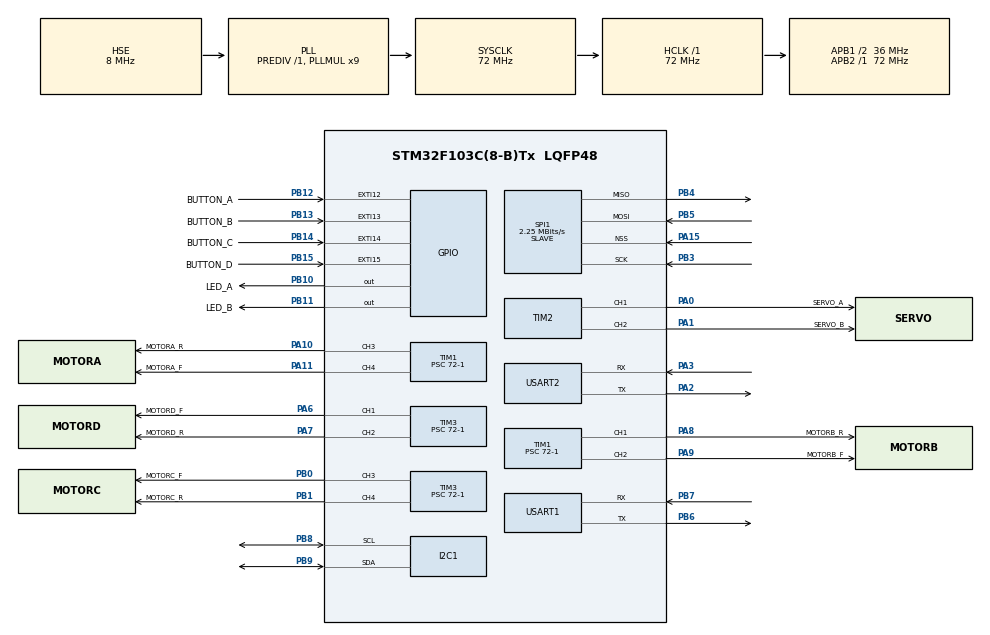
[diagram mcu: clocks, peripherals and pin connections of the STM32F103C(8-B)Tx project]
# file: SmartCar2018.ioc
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Mcu.Family=STM32F1
Mcu.Name=STM32F103C(8-B)Tx
Mcu.Package=LQFP48
NVIC.PriorityGroup=NVIC_PRIORITYGROUP_4
PA0-WKUP.GPIO_Label=SERVO_A
PA0-WKUP.Signal=S_TIM2_CH1_ETR
PA1.GPIO_Label=SERVO_B
PA1.Signal=S_TIM2_CH2
PA10.GPIO_Label=MOTORA_R
PA10.Signal=S_TIM1_CH3
PA11.GPIO_Label=MOTORA_F
PA11.Signal=S_TIM1_CH4
PA13.Mode=Serial_Wire
PA13.Signal=SYS_JTMS-SWDIO
PA14.Mode=Serial_Wire
PA14.Signal=SYS_JTCK-SWCLK
PA15.Mode=NSS_Signal_Hard_Input
PA15.Signal=SPI1_NSS
PA2.Mode=Asynchronous
PA2.Signal=USART2_TX
PA3.Mode=Asynchronous
PA3.Signal=USART2_RX
PA6.GPIO_Label=MOTORD_F
PA6.Signal=S_TIM3_CH1
PA7.GPIO_Label=MOTORD_R
PA7.Signal=S_TIM3_CH2
PA8.GPIO_Label=MOTORB_R
PA8.Signal=S_TIM1_CH1
PA9.GPIO_Label=MOTORB_F
PA9.Signal=S_TIM1_CH2
PB0.GPIO_Label=MOTORC_F
PB0.Signal=S_TIM3_CH3
PB1.GPIO_Label=MOTORC_R
PB1.Signal=S_TIM3_CH4
PB10.GPIO_Label=LED_A
PB10.Signal=GPIO_Output
PB11.GPIO_Label=LED_B
PB11.Signal=GPIO_Output
PB12.GPIO_Label=BUTTON_A
PB12.Signal=GPXTI12
PB13.GPIO_Label=BUTTON_B
PB13.Signal=GPXTI13
PB14.GPIO_Label=BUTTON_C
PB14.Signal=GPXTI14
PB15.GPIO_Label=BUTTON_D
PB15.Signal=GPXTI15
PB3.Mode=Full_Duplex_Slave
PB3.Signal=SPI1_SCK
PB4.Mode=Full_Duplex_Slave
PB4.Signal=SPI1_MISO
PB5.Mode=Full_Duplex_Slave
PB5.Signal=SPI1_MOSI
PB6.Mode=Asynchronous
PB6.Signal=USART1_TX
PB7.Mode=Asynchronous
PB7.Signal=USART1_RX
PB8.Mode=I2C
PB8.Signal=I2C1_SCL
PB9.Mode=I2C
PB9.Signal=I2C1_SDA
PD0-OSC_IN.Mode=HSE-External-Oscillator
PD0-OSC_IN.Signal=RCC_OSC_IN
PD1-OSC_OUT.Mode=HSE-External-Oscillator
PD1-OSC_OUT.Signal=RCC_OSC_OUT
ProjectManager.HeapSize=0x200
ProjectManager.StackSize=0x400
ProjectManager.TargetToolchain=MDK-ARM V5
RCC.AHBFreq_Value=72000000
RCC.APB1CLKDivider=RCC_HCLK_DIV2
RCC.APB1Freq_Value=36000000
RCC.APB1TimFreq_Value=72000000
RCC.APB2Freq_Value=72000000
RCC.APB2TimFreq_Value=72000000
RCC.HCLKFreq_Value=72000000
RCC.PLLMUL=RCC_PLL_MUL9
RCC.PLLSourceVirtual=RCC_PLLSOURCE_HSE
RCC.SYSCLKFreq_VALUE=72000000
RCC.SYSCLKSource=RCC_SYSCLKSOURCE_PLLCLK
RCC.USBFreq_Value=72000000
SH.S_TIM1_CH1.0=TIM1_CH1,PWM Generation1 CH1
SH.S_TIM1_CH2.0=TIM1_CH2,PWM Generation2 CH2
SH.S_TIM1_CH3.0=TIM1_CH3,PWM Generation3 CH3
SH.S_TIM1_CH4.0=TIM1_CH4,PWM Generation4 CH4
SH.S_TIM2_CH1_ETR.0=TIM2_CH1,PWM Generation1 CH1
SH.S_TIM2_CH2.0=TIM2_CH2,PWM Generation2 CH2
SH.S_TIM3_CH1.0=TIM3_CH1,PWM Generation1 CH1
SH.S_TIM3_CH2.0=TIM3_CH2,PWM Generation2 CH2
SH.S_TIM3_CH3.0=TIM3_CH3,PWM Generation3 CH3
SH.S_TIM3_CH4.0=TIM3_CH4,PWM Generation4 CH4
SPI1.BaudRatePrescaler=SPI_BAUDRATEPRESCALER_32
SPI1.CalculateBaudRate=2.25 MBits/s
SPI1.Direction=SPI_DIRECTION_2LINES
SPI1.Mode=SPI_MODE_SLAVE
SPI1.VirtualNSS=VM_NSSHARD
SPI1.VirtualType=VM_SLAVE
TIM1.Channel-PWM\ Generation1\ CH1=TIM_CHANNEL_1
TIM1.Channel-PWM\ Generation2\ CH2=TIM_CHANNEL_2
TIM1.Channel-PWM\ Generation3\ CH3=TIM_CHANNEL_3
TIM1.Channel-PWM\ Generation4\ CH4=TIM_CHANNEL_4
TIM1.Period=2000-1
TIM1.Prescaler=72-1
TIM2.Channel-PWM\ Generation1\ CH1=TIM_CHANNEL_1
TIM2.Channel-PWM\ Generation2\ CH2=TIM_CHANNEL_2
TIM3.Channel-PWM\ Generation1\ CH1=TIM_CHANNEL_1
TIM3.Channel-PWM\ Generation2\ CH2=TIM_CHANNEL_2
TIM3.Channel-PWM\ Generation3\ CH3=TIM_CHANNEL_3
TIM3.Channel-PWM\ Generation4\ CH4=TIM_CHANNEL_4
TIM3.Period=2000-1
TIM3.Prescaler=72-1
USART1.VirtualMode=VM_ASYNC
USART2.VirtualMode=VM_ASYNC
board=custom

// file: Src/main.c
/**
  ******************************************************************************
  * @file           : main.c
  * @brief          : Main program body
  ******************************************************************************
  ** This notice applies to any and all portions of this file
  * that are not between comment pairs USER CODE BEGIN and
  * USER CODE END. Other portions of this file, whether
  * inserted by the user or by software development tools
  * are owned by their respective copyright owners.
  *
  * COPYRIGHT(c) 2018 STMicroelectronics
  *
  * Redistribution and use in source and binary forms, with or without modification,
  * are permitted provided that the following conditions are met:
  *   1. Redistributions of source code must retain the above copyright notice,
  *      this list of conditions and the following disclaimer.
  *   2. Redistributions in binary form must reproduce the above copyright notice,
  *      this list of conditions and the following disclaimer in the documentation
  *      and/or other materials provided with the distribution.
  *   3. Neither the name of STMicroelectronics nor the names of its contributors
  *      may be used to endorse or promote products derived from this software
  *      without specific prior written permission.
  *
  * THIS SOFTWARE IS PROVIDED BY THE COPYRIGHT HOLDERS AND CONTRIBUTORS "AS IS"
  * AND ANY EXPRESS OR IMPLIED WARRANTIES, INCLUDING, BUT NOT LIMITED TO, THE
  * IMPLIED WARRANTIES OF MERCHANTABILITY AND FITNESS FOR A PARTICULAR PURPOSE ARE
  * DISCLAIMED. IN NO EVENT SHALL THE COPYRIGHT HOLDER OR CONTRIBUTORS BE LIABLE
  * FOR ANY DIRECT, INDIRECT, INCIDENTAL, SPECIAL, EXEMPLARY, OR CONSEQUENTIAL
  * DAMAGES (INCLUDING, BUT NOT LIMITED TO, PROCUREMENT OF SUBSTITUTE GOODS OR
  * SERVICES; LOSS OF USE, DATA, OR PROFITS; OR BUSINESS INTERRUPTION) HOWEVER
  * CAUSED AND ON ANY THEORY OF LIABILITY, WHETHER IN CONTRACT, STRICT LIABILITY,
  * OR TORT (INCLUDING NEGLIGENCE OR OTHERWISE) ARISING IN ANY WAY OUT OF THE USE
  * OF THIS SOFTWARE, EVEN IF ADVISED OF THE POSSIBILITY OF SUCH DAMAGE.
  *
  ******************************************************************************
  */
#include "main.h"
#include "stm32f1xx_hal.h"
#include "i2c.h"
#include "spi.h"
#include "tim.h"
#include "usart.h"
#include "gpio.h"

/* USER CODE BEGIN Includes */
#include "motor.h"
#include "pid.h"
/* USER CODE END Includes */

/* USER CODE BEGIN PV */
/* Private variables ---------------------------------------------------------*/

const uint8_t SPI_SIZE = 5;

uint8_t data[SPI_SIZE];
uint16_t Speed_Now = 0, MIN_Speed = 0, Speed_Up = 50, GoBack = 1;
/* USER CODE END PV */

void SystemClock_Config(void);

/* USER CODE BEGIN PFP */
/* Private function prototypes -----------------------------------------------*/
void user_pwm_setvalue ( uint16_t value );
/* USER CODE END PFP */

int main(void)
{

  /* MCU Configuration----------------------------------------------------------*/

  /* Reset of all peripherals, Initializes the Flash interface and the Systick. */
  HAL_Init();
	pid_init();

  /* Configure the system clock */
  SystemClock_Config();

  /* Initialize all configured peripherals */
  MX_GPIO_Init();
  MX_I2C1_Init();
  MX_SPI1_Init();
  MX_TIM1_Init();
  MX_TIM2_Init();
  MX_TIM3_Init();
  MX_USART1_UART_Init();
  MX_USART2_UART_Init();
  /* USER CODE BEGIN 2 */
  HAL_TIM_PWM_Start(&htim1 , TIM_CHANNEL_2) ;
  HAL_TIM_PWM_Start(&htim1 , TIM_CHANNEL_3) ;
  HAL_TIM_PWM_Start(&htim3 , TIM_CHANNEL_2) ;
  HAL_TIM_PWM_Start(&htim3 , TIM_CHANNEL_3) ;
  /* USER CODE END 2 */

  /* Infinite loop */
  /* USER CODE BEGIN WHILE */
  /*	int T0 = 500, T1 = 1000, T2 = 50;
  int32_t P0 = 800, P1 = 400, P2 = 2000;
	cpMotor cur = MOTORA_F;
	point_turn(1200,ANTICLOCKWISE);
	HAL_Delay(2000);
	pwm_set_stop();

	HAL_Delay(1000);

	point_turn(1200,CLOCKWISE);
	HAL_Delay(2000);
	pwm_set_stop();*/

	/*for (int i = 0; i < 4; ++i)

		pwm_set_pulse_F(P0);
		HAL_Delay(1000);
		pwm_set_pulse_F(0);
		HAL_Delay(1000);
		pwm_set_pulse_right_F(2000);
		HAL_Delay(380);
		pwm_set_pulse_F(0);
		HAL_Delay(1000);
	}*/
/*		pwm_set_pulse_F(P0);
		HAL_Delay(T0);
		pwm_set_pulse_left_F(650);
		pwm_set_pulse_right_F(1200);
		HAL_Delay(T2);
		pwm_set_pulse_left_F(500);
		pwm_set_pulse_right_F(1600);
		HAL_Delay(T2);
		pwm_set_pulse_left_F(P1);
		pwm_set_pulse_right_F(P2);
		HAL_Delay(T1);
		pwm_set_pulse_left_F(500);
		pwm_set_pulse_right_F(1600);
		HAL_Delay(T2);
		pwm_set_pulse_left_F(650);
		pwm_set_pulse_right_F(1200);
		HAL_Delay(T2);
		pwm_set_pulse_F(P0);
	}*/
	//pwm_set_pulse_F(0);

		/*
		corner_turn(1200,0,LEFT);
    HAL_Delay(3000);
		pwm_set_stop();
    HAL_Delay(1000);
		corner_turn(1200,600,LEFT);
    HAL_Delay(3000);
		pwm_set_stop();
    HAL_Delay(1000);
		corner_turn(1200,1200,LEFT);
    HAL_Delay(3000);
		pwm_set_stop();
		*/
		/*differ_turn(600,1500,RIGHT);
		return 0;*/

		//SPI_Receive();

	//pwm_set_pulse_F(600);

	//HAL_Delay(1500);
	//pwm_set_stop();

	HAL_SPI_Receive_IT(&hspi1, data, SPI_SIZE);

	while (1)
  {
  /* USER CODE END WHILE */

  /* USER CODE BEGIN 3 */

		SPI_Receive(data, SPI_SIZE);

  }

	//while (cur);//
  /* USER CODE END 3 */
}

void SystemClock_Config(void)
{

  RCC_OscInitTypeDef RCC_OscInitStruct;
  RCC_ClkInitTypeDef RCC_ClkInitStruct;

    /**Initializes the CPU, AHB and APB busses clocks
    */
  RCC_OscInitStruct.OscillatorType = RCC_OSCILLATORTYPE_HSE;
  RCC_OscInitStruct.HSEState = RCC_HSE_ON;
  RCC_OscInitStruct.HSEPredivValue = RCC_HSE_PREDIV_DIV1;
  RCC_OscInitStruct.HSIState = RCC_HSI_ON;
  RCC_OscInitStruct.PLL.PLLState = RCC_PLL_ON;
  RCC_OscInitStruct.PLL.PLLSource = RCC_PLLSOURCE_HSE;
  RCC_OscInitStruct.PLL.PLLMUL = RCC_PLL_MUL9;
  if (HAL_RCC_OscConfig(&RCC_OscInitStruct) != HAL_OK)
  {
    _Error_Handler(__FILE__, __LINE__);
  }

    /**Initializes the CPU, AHB and APB busses clocks
    */
  RCC_ClkInitStruct.ClockType = RCC_CLOCKTYPE_HCLK|RCC_CLOCKTYPE_SYSCLK
                              |RCC_CLOCKTYPE_PCLK1|RCC_CLOCKTYPE_PCLK2;
  RCC_ClkInitStruct.SYSCLKSource = RCC_SYSCLKSOURCE_PLLCLK;
  RCC_ClkInitStruct.AHBCLKDivider = RCC_SYSCLK_DIV1;
  RCC_ClkInitStruct.APB1CLKDivider = RCC_HCLK_DIV2;
  RCC_ClkInitStruct.APB2CLKDivider = RCC_HCLK_DIV1;

  if (HAL_RCC_ClockConfig(&RCC_ClkInitStruct, FLASH_LATENCY_2) != HAL_OK)
  {
    _Error_Handler(__FILE__, __LINE__);
  }

    /**Configure the Systick interrupt time
    */
  HAL_SYSTICK_Config(HAL_RCC_GetHCLKFreq()/1000);

    /**Configure the Systick
    */
  HAL_SYSTICK_CLKSourceConfig(SYSTICK_CLKSOURCE_HCLK);

  /* SysTick_IRQn interrupt configuration */
  HAL_NVIC_SetPriority(SysTick_IRQn, 0, 0);
}

/* USER CODE BEGIN 4 */
void HAL_SPI_RxCpltCallback(SPI_HandleTypeDef *hspi)
{
  /* Prevent unused argument(s) compilation warning */
  UNUSED(hspi);
	HAL_SPI_Receive_IT(&hspi1, data, SPI_SIZE);
  /* NOTE : This function should not be modified, when the callback is needed,
            the HAL_SPI_RxCpltCallback should be implemented in the user file
  */
}

/* USER CODE END 4 */

void _Error_Handler(char *file, int line)
{
  while(1)
  {
  }
}

/************************ (C) COPYRIGHT STMicroelectronics *****END OF FILE****/
